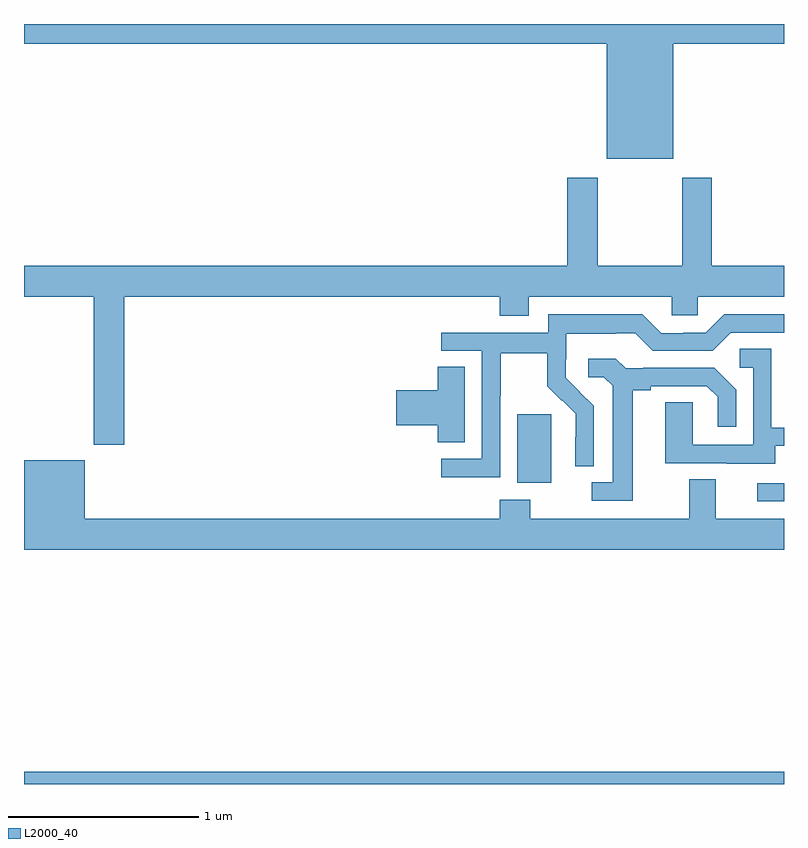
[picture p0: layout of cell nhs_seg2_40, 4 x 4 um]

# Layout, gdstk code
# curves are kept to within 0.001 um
import gdstk
lib = gdstk.Library(unit=1e-6, precision=1e-09)
def R(c, l, rs):  # rectangles x0, y0, x1, y1
    for r in rs: c.add(gdstk.rectangle(r[:2], r[2:], *l))
def P(c, l, *ps):  # polygons
    for p in ps: c.add(gdstk.Polygon(p, *l))
L2000_40 = (2000, 40)

nhs_seg2_40 = lib.new_cell('nhs_seg2_40')
R(nhs_seg2_40, L2000_40, [(113,583.8,117,583.864), (116.859,585.288,117,585.384), (115.595,585.386,115.774,585.747)])
P(nhs_seg2_40, L2000_40, [(116.416,587.696),(117,587.696),(117,587.8),(113,587.8),(113,587.696),(116.066,587.696),(116.066,587.09),(116.416,587.09)],
  [(113.528,586.364),(115.505,586.364),(115.505,586.265),(115.657,586.265),(115.657,586.364),(116.409,586.364),(116.409,586.266),(116.547,586.266),(116.547,586.364),(117,586.364),(117,586.528),(116.619,586.528),(116.619,586.99),(116.464,586.99),(116.464,586.528),(116.019,586.528),(116.019,586.99),(115.859,586.99),(115.859,586.528),(113,586.528),(113,586.364),(113.368,586.364),(113.368,585.585),(113.528,585.585)],
  [(115.506,585.844),(115.509,585.844),(115.509,586.068),(115.753,586.068),(115.753,585.893),(115.83,585.816),(115.833,585.819),(115.904,585.749),(115.904,585.626),(115.902,585.626),(115.902,585.472),(115.998,585.472),(115.998,585.79),(115.852,585.938),(115.852,586.035),(115.854,586.035),(115.854,586.169),(116.117,586.169),(116.117,586.173),(116.217,586.173),(116.31,586.08),(116.625,586.08),(116.721,586.176),(117,586.176),(117,586.272),(116.685,586.272),(116.589,586.176),(116.471,586.176),(116.471,586.173),(116.355,586.173),(116.255,586.273),(115.758,586.273),(115.758,586.176),(115.197,586.176),(115.197,586.08),(115.41,586.08),(115.41,585.513),(115.197,585.513),(115.197,585.415),(115.506,585.415)],
  [(116.953,585.579),(117,585.579),(117,585.675),(116.934,585.675),(116.934,586.091),(116.766,586.091),(116.766,585.99),(116.838,585.99),(116.838,585.585),(116.52,585.585),(116.52,585.809),(116.375,585.809),(116.375,585.489),(116.699,585.489),(116.699,585.485),(116.953,585.485)],
  [(116.203,585.872),(116.299,585.872),(116.299,585.894),(116.594,585.894),(116.651,585.837),(116.651,585.681),(116.748,585.681),(116.748,585.874),(116.632,585.99),(116.26,585.99),(116.26,585.987),(116.166,585.987),(116.114,586.039),(115.971,586.039),(115.971,585.942),(116.052,585.942),(116.099,585.895),(116.099,585.387),(115.989,585.387),(115.989,585.291),(116.203,585.291)],
  [(115.321,585.995),(115.178,585.995),(115.178,585.872),(114.96,585.872),(114.96,585.689),(115.178,585.689),(115.178,585.598),(115.321,585.598)],
  [(117,585.196),(116.641,585.196),(116.641,585.404),(116.501,585.404),(116.501,585.196),(115.665,585.196),(115.665,585.295),(115.505,585.295),(115.505,585.196),(113.32,585.196),(113.32,585.505),(113,585.505),(113,585.032),(117,585.032)])

lib.write_gds('nhs_seg2_40.gds')
